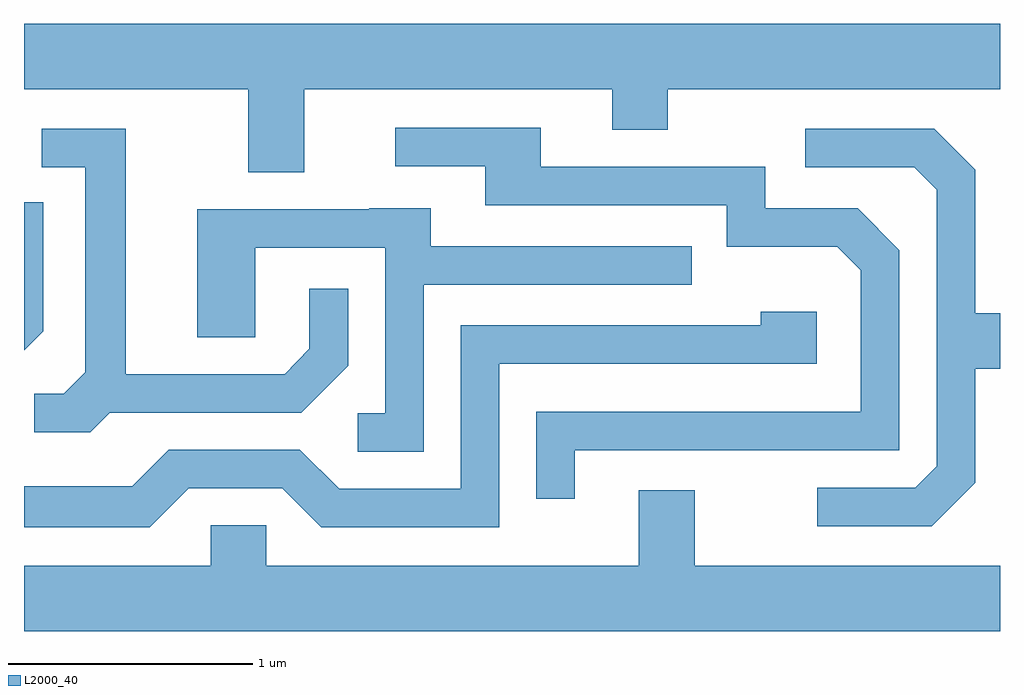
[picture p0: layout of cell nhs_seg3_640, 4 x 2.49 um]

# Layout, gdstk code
import gdstk
lib = gdstk.Library(unit=1e-6, precision=1e-09)
def P(c, l, *ps):  # polygons
    for p in ps: c.add(gdstk.Polygon(p, *l))
L2000_40 = (2000, 40)

nhs_seg3_640 = lib.new_cell('nhs_seg3_640')
P(nhs_seg3_640, L2000_40, [(204.759,1174.856),(206.021,1174.856),(206.021,1174.691),(206.249,1174.691),(206.249,1174.856),(207.611,1174.856),(207.611,1175.124),(203.611,1175.124),(203.611,1174.856),(204.531,1174.856),(204.531,1174.516),(204.759,1174.516)],
  [(205.869,1173.376),(207.199,1173.376),(207.199,1174.197),(207.027,1174.369),(206.649,1174.369),(206.649,1174.539),(205.729,1174.539),(205.729,1174.699),(205.133,1174.699),(205.133,1174.541),(205.501,1174.541),(205.501,1174.381),(206.491,1174.381),(206.491,1174.211),(206.944,1174.211),(207.041,1174.114),(207.041,1173.534),(205.711,1173.534),(205.711,1173.178),(205.869,1173.178)],
  [(207.509,1173.244),(207.509,1173.711),(207.611,1173.711),(207.611,1173.939),(207.509,1173.939),(207.509,1174.527),(207.342,1174.694),(206.813,1174.694),(206.813,1174.536),(207.259,1174.536),(207.351,1174.444),(207.351,1173.312),(207.264,1173.224),(206.863,1173.224),(206.863,1173.066),(207.332,1173.066)],
  [(203.962,1173.531),(204.747,1173.531),(204.939,1173.724),(204.939,1174.038),(204.781,1174.038),(204.781,1173.792),(204.679,1173.689),(204.029,1173.689),(204.029,1174.694),(203.683,1174.694),(203.683,1174.536),(203.861,1174.536),(203.861,1173.697),(203.774,1173.609),(203.653,1173.609),(203.653,1173.451),(203.882,1173.451)],
  [(203.689,1173.864),(203.689,1174.393),(203.611,1174.393),(203.611,1173.786)],
  [(205.249,1174.056),(206.348,1174.056),(206.348,1174.214),(205.279,1174.214),(205.279,1174.369),(205.025,1174.369),(205.025,1174.364),(204.321,1174.364),(204.321,1173.841),(204.559,1173.841),(204.559,1174.206),(205.091,1174.206),(205.091,1173.529),(204.978,1173.529),(204.978,1173.371),(205.249,1173.371)],
  [(204.287,1173.221),(204.669,1173.221),(204.829,1173.061),(205.559,1173.061),(205.559,1173.731),(206.859,1173.731),(206.859,1173.944),(206.631,1173.944),(206.631,1173.889),(205.401,1173.889),(205.401,1173.219),(204.902,1173.219),(204.742,1173.379),(204.204,1173.379),(204.054,1173.229),(203.611,1173.229),(203.611,1173.061),(204.127,1173.061)],
  [(207.611,1172.904),(206.359,1172.904),(206.359,1173.214),(206.131,1173.214),(206.131,1172.904),(204.604,1172.904),(204.604,1173.069),(204.376,1173.069),(204.376,1172.904),(203.611,1172.904),(203.611,1172.636),(207.611,1172.636)])

lib.write_gds('nhs_seg3_640.gds')
